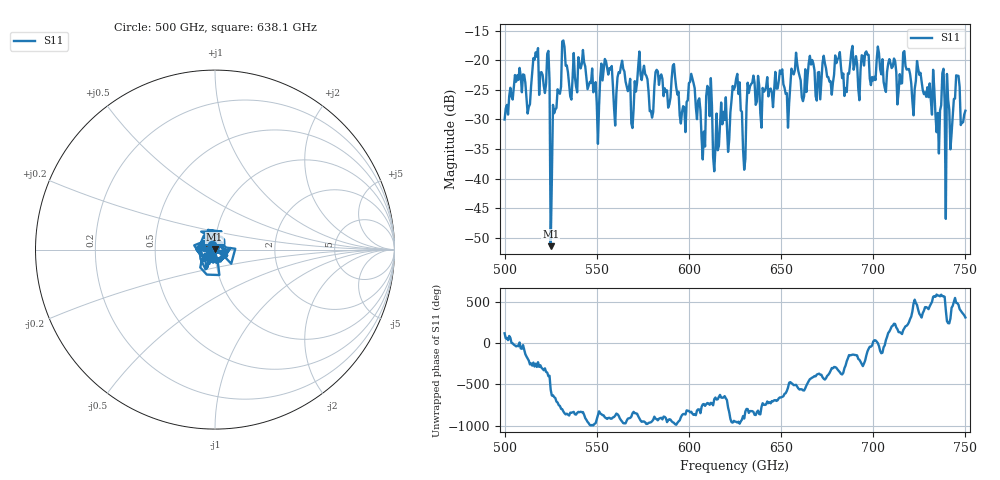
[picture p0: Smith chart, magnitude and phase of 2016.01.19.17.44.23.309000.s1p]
!Created with skrf (http://scikit-rf.org).
# GHz S RI R 50.0
!freq ReS11 ImS11
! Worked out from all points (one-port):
!   401 points, 500 GHz to 750 GHz, reference 50 ohm
!   lowest |S11| = -51.4 dB at 525 GHz (marker M1), VSWR 1.01, Z = 49.8 + j0.115 ohm
!   |S11| at or under -10 dB: start of sweep to end of sweep
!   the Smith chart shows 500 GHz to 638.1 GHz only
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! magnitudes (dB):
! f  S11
! 500 GHz  -30.0
! 506.9 GHz  -22.5
! 513.1 GHz  -27.9
! 516.9 GHz  -18.7
! 523.1 GHz  -18.9
! 525 GHz  -51.4
! 526.2 GHz  -27.5
! 531.2 GHz  -16.8
! 550 GHz  -27.3
! 562.5 GHz  -22.2
! 570 GHz  -28.3
! 573.8 GHz  -22.4
! 579.4 GHz  -28.5
! 583.1 GHz  -21.9
! 593.8 GHz  -25.8
! 601.9 GHz  -23.0
! 607.5 GHz  -36.7
! 610.6 GHz  -24.7
! 614.4 GHz  -34.8
! 625 GHz  -24.4
! 629.4 GHz  -35.1
! 634.4 GHz  -23.8
! 656.2 GHz  -22.0
! 687.5 GHz  -20.5
! 718.8 GHz  -21.6
! 735 GHz  -28.9
! 745.6 GHz  -22.6
! 750 GHz  -28.5
